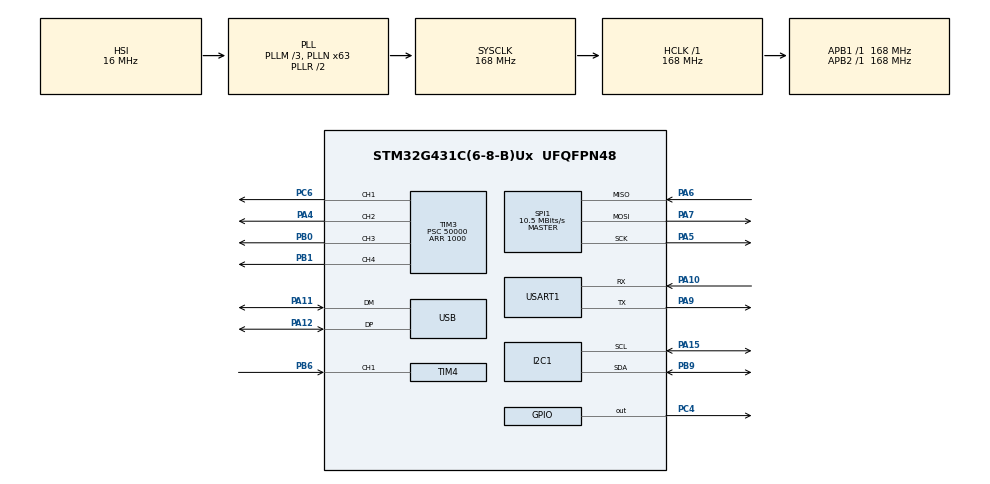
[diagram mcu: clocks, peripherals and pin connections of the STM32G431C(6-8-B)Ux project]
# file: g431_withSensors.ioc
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Dma.I2C1_RX.1.Direction=DMA_PERIPH_TO_MEMORY
Dma.I2C1_RX.1.EventEnable=DISABLE
Dma.I2C1_RX.1.Instance=DMA1_Channel2
Dma.I2C1_RX.1.MemDataAlignment=DMA_MDATAALIGN_BYTE
Dma.I2C1_RX.1.MemInc=DMA_MINC_ENABLE
Dma.I2C1_RX.1.Mode=DMA_NORMAL
Dma.I2C1_RX.1.PeriphDataAlignment=DMA_PDATAALIGN_BYTE
Dma.I2C1_RX.1.PeriphInc=DMA_PINC_DISABLE
Dma.I2C1_RX.1.Polarity=HAL_DMAMUX_REQ_GEN_RISING
Dma.I2C1_RX.1.Priority=DMA_PRIORITY_LOW
Dma.I2C1_RX.1.RequestNumber=1
Dma.I2C1_RX.1.SignalID=NONE
Dma.I2C1_RX.1.SyncEnable=DISABLE
Dma.I2C1_RX.1.SyncPolarity=HAL_DMAMUX_SYNC_NO_EVENT
Dma.I2C1_RX.1.SyncRequestNumber=1
Dma.I2C1_RX.1.SyncSignalID=NONE
Dma.I2C1_TX.0.Direction=DMA_MEMORY_TO_PERIPH
Dma.I2C1_TX.0.EventEnable=DISABLE
Dma.I2C1_TX.0.Instance=DMA1_Channel1
Dma.I2C1_TX.0.MemDataAlignment=DMA_MDATAALIGN_BYTE
Dma.I2C1_TX.0.MemInc=DMA_MINC_ENABLE
Dma.I2C1_TX.0.Mode=DMA_NORMAL
Dma.I2C1_TX.0.PeriphDataAlignment=DMA_PDATAALIGN_BYTE
Dma.I2C1_TX.0.PeriphInc=DMA_PINC_DISABLE
Dma.I2C1_TX.0.Polarity=HAL_DMAMUX_REQ_GEN_RISING
Dma.I2C1_TX.0.Priority=DMA_PRIORITY_LOW
Dma.I2C1_TX.0.RequestNumber=1
Dma.I2C1_TX.0.SignalID=NONE
Dma.I2C1_TX.0.SyncEnable=DISABLE
Dma.I2C1_TX.0.SyncPolarity=HAL_DMAMUX_SYNC_NO_EVENT
Dma.I2C1_TX.0.SyncRequestNumber=1
Dma.I2C1_TX.0.SyncSignalID=NONE
Dma.Request0=I2C1_TX
Dma.Request1=I2C1_RX
I2C1.Timing=0x60505F8C
Mcu.Family=STM32G4
Mcu.Name=STM32G431C(6-8-B)Ux
Mcu.Package=UFQFPN48
NVIC.DMA1_Channel1_IRQn=true\:0\:0\:false\:false\:true\:false\:true\:true
NVIC.DMA1_Channel2_IRQn=true\:0\:0\:false\:false\:true\:false\:true\:true
NVIC.I2C1_ER_IRQn=true\:0\:0\:false\:false\:true\:true\:true\:true
NVIC.I2C1_EV_IRQn=true\:0\:0\:false\:false\:true\:true\:true\:true
NVIC.PriorityGroup=NVIC_PRIORITYGROUP_4
NVIC.SPI1_IRQn=true\:0\:0\:false\:false\:true\:true\:true\:true
NVIC.TIM3_IRQn=true\:0\:0\:false\:false\:true\:true\:true\:true
NVIC.USART1_IRQn=true\:0\:0\:false\:false\:true\:true\:true\:true
NVIC.USB_LP_IRQn=true\:0\:0\:false\:false\:true\:false\:true\:true
PA10.Mode=Asynchronous
PA10.Signal=USART1_RX
PA11.Mode=Device
PA11.Signal=USB_DM
PA12.Mode=Device
PA12.Signal=USB_DP
PA13.Mode=Serial_Wire
PA13.Signal=SYS_JTMS-SWDIO
PA14.Mode=Serial_Wire
PA14.Signal=SYS_JTCK-SWCLK
PA15.GPIO_Pu=GPIO_PULLUP
PA15.GPIO_Speed=GPIO_SPEED_FREQ_VERY_HIGH
PA15.Mode=I2C
PA15.Signal=I2C1_SCL
PA4.Signal=S_TIM3_CH2
PA5.Mode=Full_Duplex_Master
PA5.Signal=SPI1_SCK
PA6.Mode=Full_Duplex_Master
PA6.Signal=SPI1_MISO
PA7.Mode=Full_Duplex_Master
PA7.Signal=SPI1_MOSI
PA9.Mode=Asynchronous
PA9.Signal=USART1_TX
PB0.Signal=S_TIM3_CH3
PB1.Signal=S_TIM3_CH4
PB6.Signal=S_TIM4_CH1
PB9.GPIO_Pu=GPIO_PULLUP
PB9.GPIO_Speed=GPIO_SPEED_FREQ_VERY_HIGH
PB9.Mode=I2C
PB9.Signal=I2C1_SDA
PC4.GPIO_Speed=GPIO_SPEED_FREQ_MEDIUM
PC4.Signal=GPIO_Output
PC6.Signal=S_TIM3_CH1
PF0-OSC_IN.Mode=HSE-External-Oscillator
PF0-OSC_IN.Signal=RCC_OSC_IN
PF1-OSC_OUT.Mode=HSE-External-Oscillator
PF1-OSC_OUT.Signal=RCC_OSC_OUT
ProjectManager.HeapSize=0x200
ProjectManager.StackSize=0x400
ProjectManager.TargetToolchain=STM32CubeIDE
RCC.ADC12Freq_Value=168000000
RCC.AHBFreq_Value=168000000
RCC.APB1Freq_Value=168000000
RCC.APB1TimFreq_Value=168000000
RCC.APB2Freq_Value=168000000
RCC.APB2TimFreq_Value=168000000
RCC.CK48CLockSelection=RCC_USBCLKSOURCE_HSI48
RCC.CortexFreq_Value=168000000
RCC.EXTERNAL_CLOCK_VALUE=12288000
RCC.HCLKFreq_Value=168000000
RCC.HSE_VALUE=8000000
RCC.HSI48_VALUE=48000000
RCC.HSI_VALUE=16000000
RCC.LSE_VALUE=32768
RCC.PLLM=RCC_PLLM_DIV3
RCC.PLLN=63
RCC.SYSCLKFreq_VALUE=168000000
RCC.SYSCLKSource=RCC_SYSCLKSOURCE_PLLCLK
RCC.USBFreq_Value=48000000
RCC.VCOOutputFreq_Value=336000000
SH.S_TIM3_CH1.0=TIM3_CH1,PWM Generation1 CH1
SH.S_TIM3_CH2.0=TIM3_CH2,PWM Generation2 CH2
SH.S_TIM3_CH3.0=TIM3_CH3,PWM Generation3 CH3
SH.S_TIM3_CH4.0=TIM3_CH4,PWM Generation4 CH4
SH.S_TIM4_CH1.0=TIM4_CH1,Input_Capture1_from_TI1
SPI1.BaudRatePrescaler=SPI_BAUDRATEPRESCALER_16
SPI1.CalculateBaudRate=10.5 MBits/s
SPI1.DataSize=SPI_DATASIZE_8BIT
SPI1.Direction=SPI_DIRECTION_2LINES
SPI1.Mode=SPI_MODE_MASTER
SPI1.VirtualType=VM_MASTER
TIM3.Channel-PWM\ Generation1\ CH1=TIM_CHANNEL_1
TIM3.Channel-PWM\ Generation2\ CH2=TIM_CHANNEL_2
TIM3.Channel-PWM\ Generation3\ CH3=TIM_CHANNEL_3
TIM3.Channel-PWM\ Generation4\ CH4=TIM_CHANNEL_4
TIM3.PeriodNoDither=1000
TIM3.Prescaler=50000
TIM4.Channel-Input_Capture1_from_TI1=TIM_CHANNEL_1
TIM4.Channel-Input_Capture2_from_TI1_63=TIM_CHANNEL_2
TIM4.ICPolarity_CH2=TIM_INPUTCHANNELPOLARITY_FALLING
TIM4.Prescaler=168 - 1
USART1.VirtualMode-Asynchronous=VM_ASYNC
USB_DEVICE.CLASS_NAME_FS=CDC
USB_DEVICE.VirtualMode=Cdc
USB_DEVICE.VirtualModeFS=Cdc_FS
VP_SYS_VS_DBSignals.Mode=DisableDeadBatterySignals
VP_TIM3_VS_ClockSourceINT.Mode=Internal
VP_TIM4_VS_ClockSourceINT.Mode=Internal
VP_TIM4_VS_indirect_ch1.Mode=Input_Capture2_from_TI1_63
VP_USB_DEVICE_VS_USB_DEVICE_CDC_FS.Mode=CDC_FS
board=custom

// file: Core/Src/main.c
/* USER CODE BEGIN Header */
/**
  ******************************************************************************
  * @file           : main.c
  * @brief          : Main program body
  ******************************************************************************
  * @attention
  *
  * Copyright (c) 2024 STMicroelectronics.
  * All rights reserved.
  *
  * This software is licensed under terms that can be found in the LICENSE file
  * in the root directory of this software component.
  * If no LICENSE file comes with this software, it is provided AS-IS.
  *
  ******************************************************************************
  */
/* USER CODE END Header */
#include "main.h"
#include "dma.h"
#include "i2c.h"
#include "spi.h"
#include "tim.h"
#include "usart.h"
#include "usb_device.h"
#include "gpio.h"

/* USER CODE BEGIN Includes */
#include"MPU9250.h"
#include "usbd_cdc_if.h"
#include <inttypes.h>
/* USER CODE END Includes */

/* USER CODE BEGIN PD */
#define TRUE  1
#define FALSE 0

/* USER CODE END PD */

/* USER CODE BEGIN PV */
uint8_t serialBuf[100];
MPU9250_t MPU9250;

volatile uint32_t period = 0, pulseWidth = 0;

////////////////////////////////////////////////////////////////////////////////////////////
//number of ppm channels
//in future, add functionality to change number of channels with button/encoder or simply read
//channel length with STOP pulse, to be calculated in future, 30.5ms is for 12 channels
#define SIGNAL_LENGTH	30500
//max channels  to be calculated in future
#define MAX_PPM_CHANNELS (4)
//pulse lenght before timeout microsec, used to find STOP or to find tht the signal is busted
#define MAX_PULSE_WAIT_TIMEOUT_USEC (2500)

//ppm min and max will be used for checking PPM abnormalities and to round to nearest if the signal is lower/higher then we want
//#define PPM_MIN (950)
//#define PPM_MAX (2050)

//every channel init to 0
int PPM_CHANNEL_TIME[MAX_PPM_CHANNELS] = { 0 };
// indicates the system is just booted up
int is_first_start = 1;
// indicates that the first channel pulse is found
int is_in_sync = 0;
//edge which triggers value update/printf on every second edge(falling or rising)
int edge=1;
//current channel
int current_channel = 0 ;
////////////////////////////////////////////////////////////////////////////////////////////

/* USER CODE END PV */

void SystemClock_Config(void);

/* USER CODE BEGIN 0 */
void HAL_TIM_IC_CaptureCallback(TIM_HandleTypeDef *htim)
{
    if (htim->Instance == TIM4)
    {
        if(htim->Channel == HAL_TIM_ACTIVE_CHANNEL_1)
        {
            TIM4->CNT = 0;
            period = HAL_TIM_ReadCapturedValue(&htim4, TIM_CHANNEL_1);
            pulseWidth = HAL_TIM_ReadCapturedValue(&htim4, TIM_CHANNEL_2);

        }
    }
}

/* USER CODE END 0 */

int main(void)
{
  /* USER CODE BEGIN 1 */

	  MPU9250.settings.gFullScaleRange = GFSR_500DPS;
	  MPU9250.settings.aFullScaleRange = AFSR_4G;
	  MPU9250.settings.CS_PIN = GPIO_PIN_4;
	  MPU9250.settings.CS_PORT = GPIOC;
	  MPU9250.attitude.tau = 0.98;
	  MPU9250.attitude.dt = 0.004;

  /* USER CODE END 1 */

  /* MCU Configuration--------------------------------------------------------*/

  /* Reset of all peripherals, Initializes the Flash interface and the Systick. */
  HAL_Init();

  /* Configure the system clock */
  SystemClock_Config();

  /* Initialize all configured peripherals */
  MX_GPIO_Init();
  MX_DMA_Init();
  MX_I2C1_Init();
  MX_SPI1_Init();
  MX_USART1_UART_Init();
  MX_USB_Device_Init();
  MX_TIM3_Init();
  MX_TIM4_Init();
  /* USER CODE BEGIN 2 */

  // Timer for PPM signal
  HAL_TIM_IC_Start_IT(&htim4, TIM_CHANNEL_1); // direct channel
  HAL_TIM_IC_Start_IT(&htim4, TIM_CHANNEL_2); //indirect channel

  // Check if IMU configured properly and block if it didn't
   if (MPU_begin(&hspi1, &MPU9250) != TRUE)
   {
     sprintf((char *)serialBuf, "ERROR!\r\n");
     CDC_Transmit_FS(serialBuf, sizeof(serialBuf));
     while (1){}
   }

   // Calibrate the IMU
    sprintf((char *)serialBuf, "CALIBRATING...\r\n");
    CDC_Transmit_FS(serialBuf, sizeof(serialBuf));
    MPU_calibrateGyro(&hspi1, &MPU9250, 1500);

  /* USER CODE END 2 */

  /* Infinite loop */
  /* USER CODE BEGIN WHILE */

  while (1)
  {
	  // Serial out MPU9250 data
	 	  MPU_readRawData(&hspi1, &MPU9250);
	 	  sprintf((char *)serialBuf, "RAW DATA\n\rAccel: x=%d y=%d z=%d\n\rGyro: x=%d y=%d z=%d\n\r", MPU9250.rawData.ax,  MPU9250.rawData.ay, MPU9250.rawData.az
	 			  , MPU9250.rawData.gx, MPU9250.rawData.gy, MPU9250.rawData.gz);
	 	  CDC_Transmit_FS(serialBuf, sizeof(serialBuf));

	 	  MPU_readProcessedData(&hspi1, &MPU9250);
	 	  sprintf((char *)serialBuf, "PROCSSED DATA\n\rA: x=%f y=%f z=%f\n\rGyro: x=%f y=%f z=%f\n\n\r", MPU9250.sensorData.ax,  MPU9250.sensorData.ay, MPU9250.sensorData.az
	 	  			  , MPU9250.sensorData.gx, MPU9250.sensorData.gy, MPU9250.sensorData.gz);
	 	  CDC_Transmit_FS(serialBuf, sizeof(serialBuf));

          sprintf((char *)serialBuf, "Period = %u \t PulseWidth = %u \n", (uint16_t)period, (uint16_t)pulseWidth);
          CDC_Transmit_FS(serialBuf, sizeof(serialBuf));

	 	  HAL_Delay(5000);

	  MPU_calcAttitude(&hspi1, &MPU9250);

    /* USER CODE END WHILE */

  }
}

void SystemClock_Config(void)
{
  RCC_OscInitTypeDef RCC_OscInitStruct = {0};
  RCC_ClkInitTypeDef RCC_ClkInitStruct = {0};

  /** Configure the main internal regulator output voltage
  */
  HAL_PWREx_ControlVoltageScaling(PWR_REGULATOR_VOLTAGE_SCALE1_BOOST);

  /** Initializes the RCC Oscillators according to the specified parameters
  * in the RCC_OscInitTypeDef structure.
  */
  RCC_OscInitStruct.OscillatorType = RCC_OSCILLATORTYPE_HSI|RCC_OSCILLATORTYPE_HSI48;
  RCC_OscInitStruct.HSIState = RCC_HSI_ON;
  RCC_OscInitStruct.HSICalibrationValue = RCC_HSICALIBRATION_DEFAULT;
  RCC_OscInitStruct.HSI48State = RCC_HSI48_ON;
  RCC_OscInitStruct.PLL.PLLState = RCC_PLL_ON;
  RCC_OscInitStruct.PLL.PLLSource = RCC_PLLSOURCE_HSI;
  RCC_OscInitStruct.PLL.PLLM = RCC_PLLM_DIV3;
  RCC_OscInitStruct.PLL.PLLN = 63;
  RCC_OscInitStruct.PLL.PLLP = RCC_PLLP_DIV2;
  RCC_OscInitStruct.PLL.PLLQ = RCC_PLLQ_DIV2;
  RCC_OscInitStruct.PLL.PLLR = RCC_PLLR_DIV2;
  if (HAL_RCC_OscConfig(&RCC_OscInitStruct) != HAL_OK)
  {
    Error_Handler();
  }

  /** Initializes the CPU, AHB and APB buses clocks
  */
  RCC_ClkInitStruct.ClockType = RCC_CLOCKTYPE_HCLK|RCC_CLOCKTYPE_SYSCLK
                              |RCC_CLOCKTYPE_PCLK1|RCC_CLOCKTYPE_PCLK2;
  RCC_ClkInitStruct.SYSCLKSource = RCC_SYSCLKSOURCE_PLLCLK;
  RCC_ClkInitStruct.AHBCLKDivider = RCC_SYSCLK_DIV1;
  RCC_ClkInitStruct.APB1CLKDivider = RCC_HCLK_DIV1;
  RCC_ClkInitStruct.APB2CLKDivider = RCC_HCLK_DIV1;

  if (HAL_RCC_ClockConfig(&RCC_ClkInitStruct, FLASH_LATENCY_4) != HAL_OK)
  {
    Error_Handler();
  }
}

void Error_Handler(void)
{
  __disable_irq();
  while (1)
  {
  }
}
